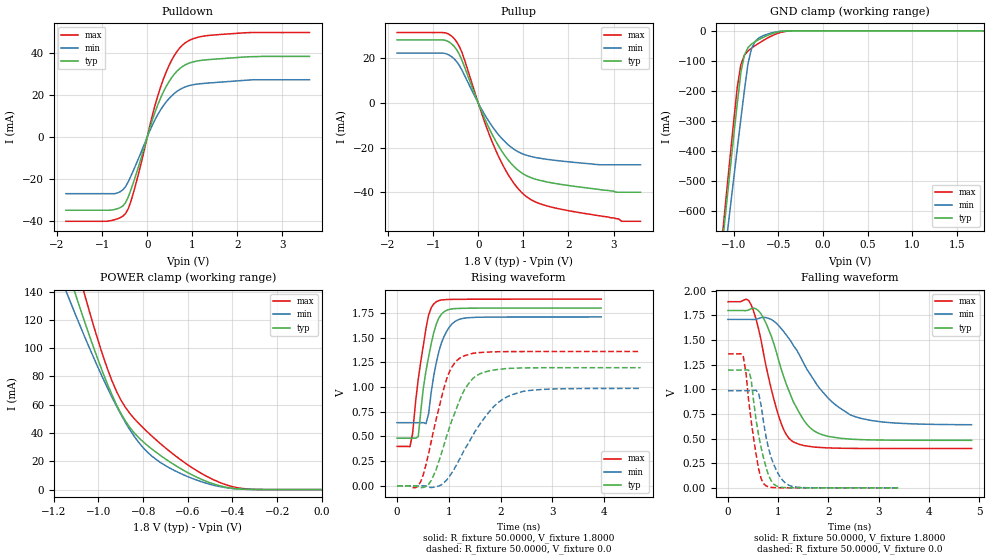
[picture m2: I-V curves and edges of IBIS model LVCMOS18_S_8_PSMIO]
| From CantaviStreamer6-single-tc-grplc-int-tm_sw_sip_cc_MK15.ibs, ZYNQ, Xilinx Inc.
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[Model]  LVCMOS18_S_8_PSMIO
Model_type I/O
Polarity   Non-Inverting
Enable   Active-Low
Vinl = 0.630
Vinh = 1.170
Vmeas =  0.9000V
Cref =   0.0F
Rref =   1.0000M
Vref =   0.0V
C_comp   3.88pF   3.86pF   3.88pF
[Temperature Range]   25.0000   85.0000   0.0
[Voltage Range]   1.8000V   1.7100V   1.8900V
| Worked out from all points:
|   slope of the pulldown table from 0 to 0.27 V, typ, clamps not added: 15.7 ohm
|   slope of the pullup table from 0 to 0.27 V, typ, clamps not added: 21.6 ohm
|   GND clamp passes 1 mA (typ) near -0.44 V on its own axis
|   POWER clamp passes 1 mA (typ) near -0.40 V on its own axis
|   rising waveform, R_fixture 50.0000, V_fixture 1.8000: 20-80 % time 246ps typ, 258ps min, 228ps max; typ from 0.482 V to 1.8 V
|   rising waveform, R_fixture 50.0000, V_fixture 0.0: 20-80 % time 483ps typ, 713ps min, 378ps max; typ from 0 V to 1.2 V
|   falling waveform, R_fixture 50.0000, V_fixture 1.8000: 20-80 % time 573ps typ, 872ps min, 412ps max; typ from 1.8 V to 0.483 V
|   falling waveform, R_fixture 50.0000, V_fixture 0.0: 20-80 % time 248ps typ, 273ps min, 209ps max; typ from 1.2 V to 0 V
[Pulldown]
|Voltage   I(typ)   I(min)   I(max)
-1.8V     -34.74mA   -26.85mA   -40mA
-720mV    -34.37mA   -26.85mA   -39.23mA
-480mV    -31.14mA   -23.51mA   -36.32mA
-420mV    -28.46mA   -21.22mA   -34.05mA
-300mV    -21.19mA   -15.55mA   -26.03mA
120mV     8.53mA     5.958mA    10.82mA
300mV     18.76mA    13.07mA    23.99mA
540mV     28.21mA    19.57mA    36.49mA
840mV     34.31mA    23.85mA    44.78mA
1.14V     36.33mA    25.31mA    47.57mA
1.5V      37.09mA    25.96mA    48.61mA
3.6V      38.38mA    27.29mA    49.72mA
[Pullup]
|Voltage   I(typ)   I(min)   I(max)
-1.8V     28.2mA     22.26mA    31.47mA
-780mV    28.2mA     22.26mA    31.47mA
-540mV    25.44mA    19.85mA    28.95mA
-360mV    19.07mA    14.64mA    22.55mA
120mV     -5.908mA   -4.417mA   -7.25mA
420mV     -18.2mA    -13.48mA   -22.59mA
780mV     -28.2mA    -20.56mA   -35.67mA
1.08V     -32.69mA   -23.5mA    -42.12mA
1.38V     -34.74mA   -24.82mA   -45.21mA
1.8V      -36.37mA   -25.94mA   -47.44mA
3.18V     -40mA      -27.7mA    -53mA
3.6V      -40mA      -27.7mA    -53mA
[GND_clamp]
|Voltage   I(typ)   I(min)   I(max)
-1.8V     -2.697A    -2.655A    -2.833A
-1.12V    -691.7mA   -796.8mA   -661.3mA
-1.08V    -576.3mA   -694.6mA   -538.5mA
-1.04V    -462.4mA   -592.9mA   -418.4mA
-960mV    -241.8mA   -392mA     -187.4mA
-920mV    -140mA     -293.7mA   -112.8mA
-880mV    -80.71mA   -197.6mA   -81.23mA
-840mV    -55.7mA    -109.6mA   -67.11mA
-800mV    -43.97mA   -58.38mA   -57.63mA
-720mV    -29.34mA   -23.99mA   -41.52mA
-360mV    -106.9uA   -110.1uA   -367.6uA
1.8V      4.387nA    217.6nA    1.97nA
[POWER_clamp]
|Voltage   I(typ)   I(min)   I(max)
-1.8V     545.9mA    495.8mA    648.6mA
-1.14V    156.2mA    138.2mA    183.7mA
-1.1V     136.6mA    122.5mA    159.8mA
-1.06V    117.7mA    107.3mA    136.7mA
-960mV    74.65mA    71.95mA    85.43mA
-900mV    54.05mA    53.27mA    63.44mA
-860mV    44.01mA    42.44mA    53.94mA
-800mV    33.79mA    29.64mA    43.66mA
-680mV    19.54mA    15.16mA    26.92mA
-540mV    7.368mA    5.626mA    11.54mA
-400mV    928.6uA    802uA      2.107mA
0V        4.387nA    4.313nA    4.804nA
[Ramp]
| variable   typ   min   max
dV/dt_r  0.7176/0.4831n   0.5917/0.7026n   0.8160/0.3777n
dV/dt_f  0.7904/0.5634n   0.6415/0.8623n   0.8945/0.4120n
R_load = 50.0000
[Rising Waveform]
R_fixture= 50.0000
V_fixture= 1.8000
V_fixture_min= 1.7100
V_fixture_max= 1.8900
|time   V(typ)   V(min)   V(max)
0s        482.5mV    639.4mV    399.2mV
250ps     482.5mV    639.4mV    396.6mV
300ps     482.5mV    639.5mV    526.6mV
410ps     498.4mV    639.4mV    1.08V
560ps     1.166V     629.9mV    1.596V
660ps     1.439V     949mV      1.802V
760ps     1.64V      1.251V     1.864V
960ps     1.777V     1.565V     1.886V
1.21ns    1.796V     1.687V     1.888V
3.94ns    1.8V       1.71V      1.89V
[Rising Waveform]
R_fixture= 50.0000
V_fixture= 0.0
|time   V(typ)   V(min)   V(max)
0s        0V         639.4nV    -7.811uV
410ps     -7.658mV   8.682uV    355.1uV
610ps     16.38mV    -12.6mV    326.3mV
760ps     172.8mV    -9.165mV   683.2mV
960ps     507.5mV    60.4mV     1.084V
1.26ns    929.9mV    323.8mV    1.308V
1.57ns    1.126V     601.2mV    1.348V
1.87ns    1.173V     803.6mV    1.357V
2.22ns    1.19V      921.7mV    1.359V
4.7ns     1.196V     986.1mV    1.36V
[Falling Waveform]
R_fixture= 50.0000
V_fixture= 1.8000
V_fixture_min= 1.7100
V_fixture_max= 1.8900
|time   V(typ)   V(min)   V(max)
0s        1.8V       1.71V      1.89V
460ps     1.818V     1.71V      1.859V
610ps     1.797V     1.719V     1.61V
710ps     1.72V      1.731V     1.358V
1.01ns    1.292V     1.646V     726.9mV
1.16ns    1.054V     1.552V     540.6mV
1.31ns    864.5mV    1.439V     463.9mV
1.72ns    576.7mV    1.087V     413.7mV
2.43ns    494.6mV    742.1mV    400.7mV
4.85ns    482.6mV    640.9mV    399.2mV
[Falling Waveform]
R_fixture= 50.0000
V_fixture= 0.0
|time   V(typ)   V(min)   V(max)
0s        1.196V     986.3mV    1.36V
300ps     1.196V     986.2mV    1.346V
360ps     1.198V     986.2mV    1.158V
410ps     1.196V     986.3mV    891.8mV
460ps     1.103V     986.1mV    683.8mV
610ps     532.7mV    959.9mV    191mV
760ps     203.5mV    510.2mV    19.29mV
960ps     20.72mV    181.9mV    1.971mV
1.26ns    1.057mV    17.35mV    449.2uV
3.39ns    24.64uV    71.61uV    15.25uV
